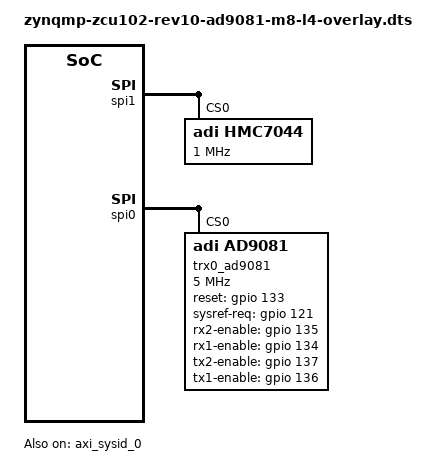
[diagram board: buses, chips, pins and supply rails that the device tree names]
// SPDX-License-Identifier: GPL-2.0
/*
 * Analog Devices AD9081-FMC-EBZ
 * https://wiki.analog.com/resources/eval/user-guides/quadmxfe/quick-start
 * https://wiki.analog.com/resources/tools-software/linux-drivers/iio-mxfe/ad9081
 *
 * hdl_project: <ad9081_fmca_ebz/zcu102>
 * board_revision: <>
 *
 * Copyright (C) 2021 Analog Devices Inc.
 */
/dts-v1/;
/plugin/;

#include <dt-bindings/interrupt-controller/irq.h>
#include <dt-bindings/iio/adc/adi,ad9081.h>
#include <dt-bindings/jesd204/adxcvr.h>
#include <dt-bindings/iio/frequency/hmc7044.h>

/ {

	fragment@0 {

		target = <&fpga_full>;
		#address-cells = <2>;
		#size-cells = <2>;

		__overlay__ {
			#address-cells = <2>;
			#size-cells = <2>;
			firmware-name = "system_top.bit";
		};
	};

	fragment@1 {
		target = <&spi1>;
		__overlay__ {
			#address-cells = <1>;
			#size-cells = <0>;
			status = "okay";

			hmc7044: hmc7044@0 {
				#address-cells = <1>;
				#size-cells = <0>;
				#clock-cells = <1>;
				compatible = "adi,hmc7044";
				reg = <0>;
				spi-max-frequency = <1000000>;

				jesd204-device;
				#jesd204-cells = <2>;
				jesd204-sysref-provider;
				adi,hmc-two-level-tree-sync-en;

				adi,jesd204-max-sysref-frequency-hz = <2000000>; /* 2 MHz */

				/*
				* There are different versions of the AD9081-FMCA-EBZ & AD9082-FMCA-EBZ
				* VCXO = 122.880 MHz, XO = 122.880MHz (AD9081-FMC-EBZ & AD9082-FMC-EBZ)
				* VCXO = 100.000 MHz, XO = 100.000MHz (AD9081-FMC-EBZ-A2 & AD9082-FMC-EBZ-A2)
				* To determine which board is which, read the freqency printed on the VCXO
				* or use the fru-dump utility:
				* #fru-dump -b /sys/bus/i2c/devices/15-0050/eeprom
				*/

				//adi,pll1-clkin-frequencies = <122880000 30720000 0 0>;
				//adi,vcxo-frequency = <122880000>;

				adi,pll1-clkin-frequencies = <100000000 10000000 0 0>;
				adi,vcxo-frequency = <100000000>;

				adi,pll1-loop-bandwidth-hz = <200>;

				adi,pll2-output-frequency = <2880000000>;

				adi,sysref-timer-divider = <1024>;
				adi,pulse-generator-mode = <0>;

				adi,clkin0-buffer-mode  = <0x07>;
				adi,clkin1-buffer-mode  = <0x07>;
				adi,oscin-buffer-mode = <0x15>;

				adi,gpi-controls = <0x00 0x00 0x00 0x00>;
				adi,gpo-controls = <0x37 0x33 0x00 0x00>;

				clock-output-names =
				"hmc7044_out0", "hmc7044_out1", "hmc7044_out2",
				"hmc7044_out3", "hmc7044_out4", "hmc7044_out5",
				"hmc7044_out6", "hmc7044_out7", "hmc7044_out8",
				"hmc7044_out9", "hmc7044_out10", "hmc7044_out11",
				"hmc7044_out12", "hmc7044_out13";

				hmc7044_c0: channel@0 {
					reg = <0>;
					adi,extended-name = "CORE_CLK_RX";
					adi,divider = <20>;
					adi,driver-mode = <HMC7044_DRIVER_MODE_LVDS>;

				};
				hmc7044_c2: channel@2 {
					reg = <2>;
					adi,extended-name = "DEV_REFCLK";
					adi,divider = <10>;
					adi,driver-mode = <HMC7044_DRIVER_MODE_LVDS>;
				};
				hmc7044_c3: channel@3 {
					reg = <3>;
					adi,extended-name = "DEV_SYSREF";
					adi,divider = <1536>;
					adi,driver-mode = <HMC7044_DRIVER_MODE_LVDS>;
					adi,jesd204-sysref-chan;
				};

				hmc7044_c6: channel@6 {
					reg = <6>;
					adi,extended-name = "CORE_CLK_TX";
					adi,divider = <20>;
					adi,driver-mode = <HMC7044_DRIVER_MODE_LVDS>;
				};

				hmc7044_c8: channel@8 {
					reg = <8>;
					adi,extended-name = "FPGA_REFCLK1";
					adi,divider = <10>;
					adi,driver-mode = <HMC7044_DRIVER_MODE_LVDS>;
				};
				hmc7044_c10: channel@10 {
					reg = <10>;
					adi,extended-name = "CORE_CLK_RX_ALT";
					adi,divider = <20>;
					adi,driver-mode = <HMC7044_DRIVER_MODE_LVDS>;
				};

				hmc7044_c12: channel@12 {
					reg = <12>;
					adi,extended-name = "FPGA_REFCLK2";
					adi,divider = <10>;
					adi,driver-mode = <HMC7044_DRIVER_MODE_LVDS>;
				};
				hmc7044_c13: channel@13 {
					reg = <13>;
					adi,extended-name = "FPGA_SYSREF";
					adi,divider = <1536>;
					adi,driver-mode = <HMC7044_DRIVER_MODE_LVDS>;
					adi,jesd204-sysref-chan;
				};
			};

		};
	};

	fragment@2 {
		target = <&spi0>;
		__overlay__ {
			#address-cells = <1>;
			#size-cells = <0>;
			status = "okay";

			trx0_ad9081: ad9081@0 {
				#address-cells = <1>;
				#size-cells = <0>;
				compatible = "adi,ad9081";
				reg = <0>;
				spi-max-frequency = <5000000>;

				/* Clocks */
				clocks = <&hmc7044 2>;
				clock-names = "dev_clk";

				clock-output-names = "rx_sampl_clk", "tx_sampl_clk";
				#clock-cells = <1>;

				jesd204-device;
				#jesd204-cells = <2>;
				jesd204-top-device = <0>; /* This is the TOP device */
				jesd204-link-ids = <FRAMER_LINK0_RX DEFRAMER_LINK0_TX>;
				//jesd204-ignore-errors;

				jesd204-inputs =
					<&axi_ad9081_core_rx 0 FRAMER_LINK0_RX>,
					<&axi_ad9081_core_tx 0 DEFRAMER_LINK0_TX>;

				reset-gpios = <&gpio 133 0>;
				sysref-req-gpios = <&gpio 121 0>;
				rx2-enable-gpios = <&gpio 135 0>;
				rx1-enable-gpios = <&gpio 134 0>;
				tx2-enable-gpios = <&gpio 137 0>;
				tx1-enable-gpios = <&gpio 136 0>;

				adi,tx-dacs {
					#size-cells = <0>;
					#address-cells = <1>;

					adi,dac-frequency-hz = /bits/ 64 <6912000000>;

					adi,main-data-paths {
						#address-cells = <1>;
						#size-cells = <0>;

						adi,interpolation = <8>;

						ad9081_dac0: dac@0 {
							reg = <0>;
							adi,crossbar-select = <&ad9081_tx_fddc_chan0>;
							adi,nco-frequency-shift-hz = /bits/ 64 <1000000000>; /* 100 MHz */
						};
						ad9081_dac1: dac@1 {
							reg = <1>;
							adi,crossbar-select = <&ad9081_tx_fddc_chan1>;
							adi,nco-frequency-shift-hz = /bits/ 64 <1100000000>; /* 200 MHz */
						};
						ad9081_dac2: dac@2 {
							reg = <2>;
							adi,crossbar-select = <&ad9081_tx_fddc_chan2>; /* All 4 channels @ dac2 */
							adi,nco-frequency-shift-hz = /bits/ 64 <1200000000>;  /* 300 MHz */
						};
						ad9081_dac3: dac@3 {
							reg = <3>;
							adi,crossbar-select = <&ad9081_tx_fddc_chan3>; /* All 4 channels @ dac2 */
							adi,nco-frequency-shift-hz = /bits/ 64 <1300000000>; /* 400 MHz */
						};
					};

					adi,channelizer-paths {
						#address-cells = <1>;
						#size-cells = <0>;
						adi,interpolation = <6>;

						ad9081_tx_fddc_chan0: channel@0 {
							reg = <0>;
							adi,gain = <2048>; /* 2048 * 10^(gain_dB/20) */
							adi,nco-frequency-shift-hz =  /bits/ 64 <0>;

						};
						ad9081_tx_fddc_chan1: channel@1 {
							reg = <1>;
							adi,gain = <2048>; /* 2048 * 10^(gain_dB/20) */
							adi,nco-frequency-shift-hz =  /bits/ 64 <0>;

						};
						ad9081_tx_fddc_chan2: channel@2 {
							reg = <2>;
							adi,gain = <2048>; /* 2048 * 10^(gain_dB/20) */
							adi,nco-frequency-shift-hz =  /bits/ 64 <0>;

						};
						ad9081_tx_fddc_chan3: channel@3 {
							reg = <3>;
							adi,gain = <2048>; /* 2048 * 10^(gain_dB/20) */
							adi,nco-frequency-shift-hz =  /bits/ 64 <0>;

						};
					};

					adi,jesd-links {
						#size-cells = <0>;
						#address-cells = <1>;

						ad9081_tx_jesd_l0: link@0 {
							#address-cells = <1>;
							#size-cells = <0>;
							reg = <0>;

							adi,logical-lane-mapping = /bits/ 8 <0 2 7 7 1 7 7 3>;

							adi,link-mode = <9>;			/* JESD Quick Configuration Mode */
							adi,subclass = <1>;			/* JESD SUBCLASS 0,1,2 */
							adi,version = <1>;			/* JESD VERSION 0=204A,1=204B,2=204C */
							adi,dual-link = <0>;			/* JESD Dual Link Mode */

							adi,converters-per-device = <8>;	/* JESD M */
							adi,octets-per-frame = <4>;		/* JESD F */

							adi,frames-per-multiframe = <32>;	/* JESD K */
							adi,converter-resolution = <16>;	/* JESD N */
							adi,bits-per-sample = <16>;		/* JESD NP' */
							adi,control-bits-per-sample = <0>;	/* JESD CS */
							adi,lanes-per-device = <4>;		/* JESD L */
							adi,samples-per-converter-per-frame = <1>; /* JESD S */
							adi,high-density = <0>;			/* JESD HD */
						};
					};
				};

				adi,rx-adcs {
					#size-cells = <0>;
					#address-cells = <1>;

					adi,adc-frequency-hz = /bits/ 64 <3456000000>;

					adi,main-data-paths {
						#address-cells = <1>;
						#size-cells = <0>;


						ad9081_adc0: adc@0 {
							reg = <0>;
							adi,decimation = <3>;
							adi,nco-frequency-shift-hz =  /bits/ 64 <400000000>;
							adi,nco-mode = <AD9081_ADC_NCO_VIF>;
							//adi,crossbar-select = <&ad9081_rx_fddc_chan0>, <&ad9081_rx_fddc_chan2>; /* Static for now */
						};
						ad9081_adc1: adc@1 {
							reg = <1>;
							adi,decimation = <3>;
							adi,nco-frequency-shift-hz =  /bits/ 64 <(-400000000)>;
							adi,nco-mode = <AD9081_ADC_NCO_VIF>;
							//adi,crossbar-select = <&ad9081_rx_fddc_chan1>, <&ad9081_rx_fddc_chan3>; /* Static for now */
						};
						ad9081_adc2: adc@2 {
							reg = <2>;
							adi,decimation = <3>;
							adi,nco-frequency-shift-hz =  /bits/ 64 <100000000>;
							adi,nco-mode = <AD9081_ADC_NCO_VIF>;
							//adi,crossbar-select = <&ad9081_rx_fddc_chan4>, <&ad9081_rx_fddc_chan6>; /* Static for now */
						};
						ad9081_adc3: adc@3 {
							reg = <3>;
							adi,decimation = <3>;
							adi,nco-frequency-shift-hz =  /bits/ 64 <100000000>;
							adi,nco-mode = <AD9081_ADC_NCO_VIF>;
							//adi,crossbar-select = <&ad9081_rx_fddc_chan5>, <&ad9081_rx_fddc_chan7>; /* Static for now */
						};
					};

					adi,channelizer-paths {
						#address-cells = <1>;
						#size-cells = <0>;


						ad9081_rx_fddc_chan0: channel@0 {
							reg = <0>;
							adi,decimation = <8>;
							adi,gain = <2048>; /* 2048 * 10^(gain_dB/20) */
							adi,nco-frequency-shift-hz =  /bits/ 64 <0>;

						};
						ad9081_rx_fddc_chan1: channel@1 {
							reg = <1>;
							adi,decimation = <8>;
							adi,gain = <2048>; /* 2048 * 10^(gain_dB/20) */
							adi,nco-frequency-shift-hz =  /bits/ 64 <0>;

						};
						ad9081_rx_fddc_chan4: channel@4 {
							reg = <4>;
							adi,decimation = <8>;
							adi,gain = <2048>; /* 2048 * 10^(gain_dB/20) */
							adi,nco-frequency-shift-hz =  /bits/ 64 <0>;

						};
						ad9081_rx_fddc_chan5: channel@5 {
							reg = <5>;
							adi,decimation = <8>;
							adi,gain = <2048>; /* 2048 * 10^(gain_dB/20) */
							adi,nco-frequency-shift-hz =  /bits/ 64 <0>;

						};
					};

					adi,jesd-links {
						#size-cells = <0>;
						#address-cells = <1>;

						ad9081_rx_jesd_l0: link@0 {
							reg = <0>;
							adi,converter-select =
								<&ad9081_rx_fddc_chan0 FDDC_I>, <&ad9081_rx_fddc_chan0 FDDC_Q>,
								<&ad9081_rx_fddc_chan1 FDDC_I>, <&ad9081_rx_fddc_chan1 FDDC_Q>,
								<&ad9081_rx_fddc_chan4 FDDC_I>, <&ad9081_rx_fddc_chan4 FDDC_Q>,
								<&ad9081_rx_fddc_chan5 FDDC_I>, <&ad9081_rx_fddc_chan5 FDDC_Q>;

							adi,logical-lane-mapping = /bits/ 8 <2 0 7 7 7 7 3 1>;

							adi,link-mode = <10>;			/* JESD Quick Configuration Mode */
							adi,subclass = <1>;			/* JESD SUBCLASS 0,1,2 */
							adi,version = <1>;			/* JESD VERSION 0=204A,1=204B,2=204C */
							adi,dual-link = <0>;			/* JESD Dual Link Mode */

							adi,converters-per-device = <8>;	/* JESD M */
							adi,octets-per-frame = <4>;		/* JESD F */

							adi,frames-per-multiframe = <32>;	/* JESD K */
							adi,converter-resolution = <16>;	/* JESD N */
							adi,bits-per-sample = <16>;		/* JESD NP' */
							adi,control-bits-per-sample = <0>;	/* JESD CS */
							adi,lanes-per-device = <4>;		/* JESD L */
							adi,samples-per-converter-per-frame = <1>; /* JESD S */
							adi,high-density = <0>;			/* JESD HD */
						};
					};
				};
			};
		};
	};

	fragment@3 {
		target = <&amba>;
		__overlay__ {
			interrupt-parent = <&gic>;
			status = "okay";
			#address-cells = <2>;
			#size-cells = <2>;

			axi_sysid_0: axi-sysid-0@85000000 {
				status = "okay";
				compatible = "adi,axi-sysid-1.00.a";
				reg = <0x0 0x85000000 0x0 0x10000>;
			};

			rx_dma: dma@9c420000 {
				compatible = "adi,axi-dmac-1.00.a";
				reg = <0x0 0x9c420000 0x0 0x10000>;
				#dma-cells = <1>;
				#clock-cells = <0>;
				interrupts = <0 109 IRQ_TYPE_LEVEL_HIGH>;
				clocks = <&zynqmp_clk 73>;
			};

			tx_dma: dma@9c430000  {
				compatible = "adi,axi-dmac-1.00.a";
				reg = <0x0 0x9c430000  0x0 0x10000>;
				#dma-cells = <1>;
				#clock-cells = <0>;
				interrupts = <0 108 IRQ_TYPE_LEVEL_HIGH>;
				clocks = <&zynqmp_clk 73>;
			};

			axi_ad9081_adxcvr_rx: axi-adxcvr-rx@84a60000 {
				#address-cells = <1>;
				#size-cells = <0>;
				compatible = "adi,axi-adxcvr-1.0";
				reg = <0x0 0x84a60000 0x0 0x1000>;

				clocks = <&hmc7044 12>;
				clock-names = "conv";

				#clock-cells = <1>;
				clock-output-names = "rx_gt_clk", "rx_out_clk";

				adi,sys-clk-select = <XCVR_QPLL>;
				adi,out-clk-select = <XCVR_REFCLK_DIV2>;
				adi,use-lpm-enable;

				jesd204-device;
				#jesd204-cells = <2>;
				jesd204-inputs =  <&hmc7044 0 FRAMER_LINK0_RX>;
			};

			axi_ad9081_adxcvr_tx: axi-adxcvr-tx@84b60000 {
				#address-cells = <1>;
				#size-cells = <0>;
				compatible = "adi,axi-adxcvr-1.0";
				reg = <0x0 0x84b60000 0x0 0x1000>;

				clocks = <&hmc7044 12>;
				clock-names = "conv";

				#clock-cells = <1>;
				clock-output-names = "tx_gt_clk", "tx_out_clk";

				adi,sys-clk-select = <XCVR_QPLL>;
				adi,out-clk-select = <XCVR_REFCLK_DIV2>;

				jesd204-device;
				#jesd204-cells = <2>;
				jesd204-inputs =  <&hmc7044 0 DEFRAMER_LINK0_TX>;
			};



			axi_ad9081_rx_jesd: axi-jesd204-rx@84a90000 {
				compatible = "adi,axi-jesd204-rx-1.0";
				reg = <0x0 0x84a90000 0x0 0x1000>;

				interrupts = <0 107 IRQ_TYPE_LEVEL_HIGH>;

				clocks = <&zynqmp_clk 71>, <&hmc7044 10>, <&axi_ad9081_adxcvr_rx 0>;
				clock-names = "s_axi_aclk", "device_clk", "lane_clk";

				#clock-cells = <0>;
				clock-output-names = "jesd_rx_lane_clk";

				jesd204-device;
				#jesd204-cells = <2>;
				jesd204-inputs = <&axi_ad9081_adxcvr_rx 0 FRAMER_LINK0_RX>;
			};

			axi_ad9081_tx_jesd: axi-jesd204-tx@84b90000 {
				compatible = "adi,axi-jesd204-tx-1.0";
				reg = <0x0 0x84b90000 0x0 0x1000>;

				interrupts = <0 106 IRQ_TYPE_LEVEL_HIGH>;

				clocks = <&zynqmp_clk 71>, <&hmc7044 6>, <&axi_ad9081_adxcvr_tx 0>;
				clock-names = "s_axi_aclk", "device_clk", "lane_clk";

				#clock-cells = <0>;
				clock-output-names = "jesd_tx_lane_clk";

				jesd204-device;
				#jesd204-cells = <2>;
				jesd204-inputs = <&axi_ad9081_adxcvr_tx 0 DEFRAMER_LINK0_TX>;
			};

			axi_ad9081_core_rx: axi-ad9081-rx-hpc@84a10000 {
				compatible = "adi,axi-ad9081-rx-1.0";
				reg = <0x0 0x84a10000  0x0 0x8000>;
				dmas = <&rx_dma 0>;
				dma-names = "rx";
				spibus-connected = <&trx0_ad9081>;

				jesd204-device;
				#jesd204-cells = <2>;
				jesd204-inputs = <&axi_ad9081_rx_jesd 0 FRAMER_LINK0_RX>;
			};

			axi_ad9081_core_tx: axi-ad9081-tx-hpc@84b10000 {
				compatible = "adi,axi-ad9081-tx-1.0";
				reg = <0x0 0x84b10000 0x0 0x4000>;
				dmas = <&tx_dma 0>;
				dma-names = "tx";
				clocks = <&trx0_ad9081 1>;
				clock-names = "sampl_clk";
				spibus-connected = <&trx0_ad9081>;
				//adi,axi-pl-fifo-enable;

				jesd204-device;
				#jesd204-cells = <2>;
				jesd204-inputs = <&axi_ad9081_tx_jesd 0 DEFRAMER_LINK0_TX>;
			};
		};
	};

};

